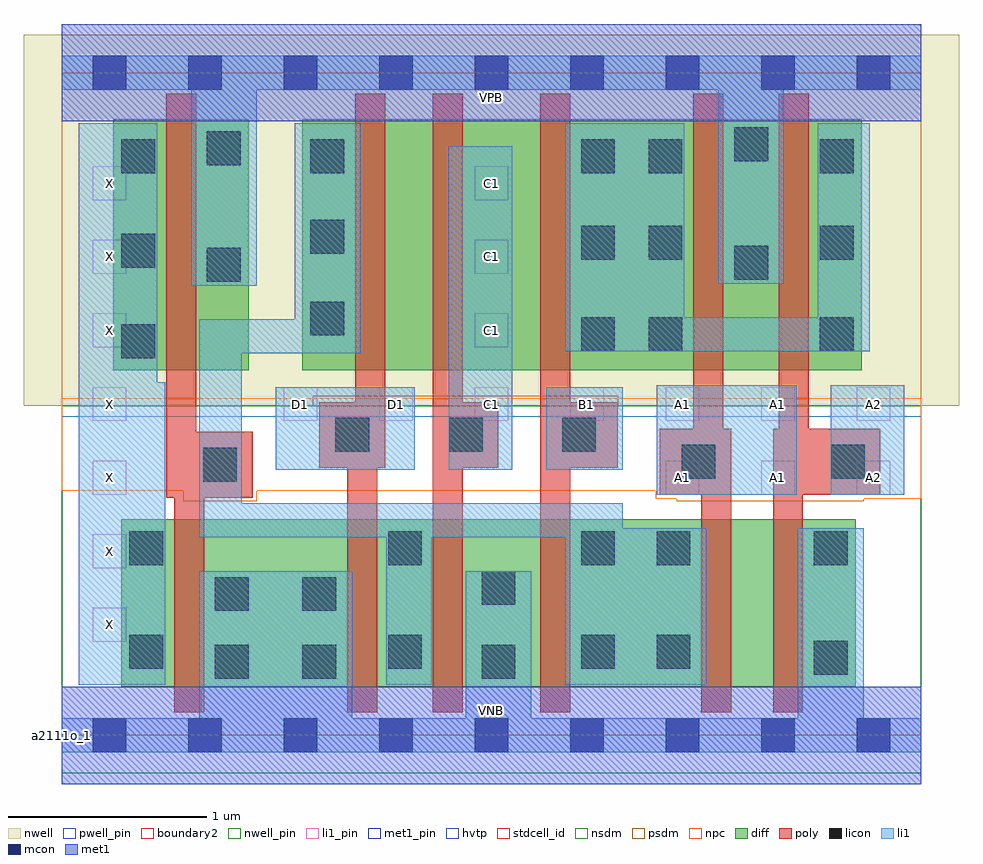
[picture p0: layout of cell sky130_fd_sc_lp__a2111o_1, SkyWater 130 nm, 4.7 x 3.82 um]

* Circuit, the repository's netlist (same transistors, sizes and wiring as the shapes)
* Copyright 2020 The SkyWater PDK Authors
*
* Licensed under the Apache License, Version 2.0 (the "License");
* you may not use this file except in compliance with the License.
* You may obtain a copy of the License at
*
*     https://www.apache.org/licenses/LICENSE-2.0
*
* Unless required by applicable law or agreed to in writing, software
* distributed under the License is distributed on an "AS IS" BASIS,
* WITHOUT WARRANTIES OR CONDITIONS OF ANY KIND, either express or implied.
* See the License for the specific language governing permissions and
* limitations under the License.
*
* SPDX-License-Identifier: Apache-2.0

.SUBCKT sky130_fd_sc_lp__a2111o_1 A1 A2 B1 C1 D1 VGND VNB VPB VPWR X
*.PININFO A1:I A2:I B1:I C1:I D1:I VGND:I VNB:I VPB:I VPWR:I X:O
MMPA0 pndA A1 VPWR VPB sky130_fd_pr__pfet_01v8_hvt m=1 w=1.26U l=0.15U mult=1 sa=0.265
+ sb=0.265 sd=0.28 area=0.063 perim=1.14
MMPA1 pndA A2 VPWR VPB sky130_fd_pr__pfet_01v8_hvt m=1 w=1.26U l=0.15U mult=1 sa=0.265
+ sb=0.265 sd=0.28 area=0.063 perim=1.14
MMPB0 pndB B1 pndA VPB sky130_fd_pr__pfet_01v8_hvt m=1 w=1.26U l=0.15U mult=1 sa=0.265
+ sb=0.265 sd=0.28 area=0.063 perim=1.14
MMPC0 pndC C1 pndB VPB sky130_fd_pr__pfet_01v8_hvt m=1 w=1.26U l=0.15U mult=1 sa=0.265
+ sb=0.265 sd=0.28 area=0.063 perim=1.14
MMPD0 y D1 pndC VPB sky130_fd_pr__pfet_01v8_hvt m=1 w=1.26U l=0.15U mult=1 sa=0.265
+ sb=0.265 sd=0.28 area=0.063 perim=1.14
MMIPX X y VPWR VPB sky130_fd_pr__pfet_01v8_hvt m=1 w=1.26U l=0.15U mult=1 sa=0.265
+ sb=0.265 sd=0.28 area=0.063 perim=1.14
MMNA0 y A1 sndA1 VNB sky130_fd_pr__nfet_01v8 m=1 w=0.84U l=0.15U mult=1 sa=0.265
+ sb=0.265 sd=0.28 area=0.063 perim=1.14
MMNA1 sndA1 A2 VGND VNB sky130_fd_pr__nfet_01v8 m=1 w=0.84U l=0.15U mult=1 sa=0.265
+ sb=0.265 sd=0.28 area=0.063 perim=1.14
MMNB0 y B1 VGND VNB sky130_fd_pr__nfet_01v8 m=1 w=0.84U l=0.15U mult=1 sa=0.265
+ sb=0.265 sd=0.28 area=0.063 perim=1.14
MMNC0 y C1 VGND VNB sky130_fd_pr__nfet_01v8 m=1 w=0.84U l=0.15U mult=1 sa=0.265
+ sb=0.265 sd=0.28 area=0.063 perim=1.14
MMND0 y D1 VGND VNB sky130_fd_pr__nfet_01v8 m=1 w=0.84U l=0.15U mult=1 sa=0.265
+ sb=0.265 sd=0.28 area=0.063 perim=1.14
MMINX X y VGND VNB sky130_fd_pr__nfet_01v8 m=1 w=0.84U l=0.15U mult=1 sa=0.265
+ sb=0.265 sd=0.28 area=0.063 perim=1.14
.ENDS sky130_fd_sc_lp__a2111o_1

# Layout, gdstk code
import gdstk
lib = gdstk.Library(unit=1e-6, precision=1e-09)
def R(c, l, rs):  # rectangles x0, y0, x1, y1
    for r in rs: c.add(gdstk.rectangle(r[:2], r[2:], *l))
def A(c, l, x, y, w, h, nx, ny, dx, dy):  # array of equal rectangles
    R(c, l, [(x+i*dx, y+j*dy, x+i*dx+w, y+j*dy+h) for i in range(nx) for j in range(ny)])
def P(c, l, *ps):  # polygons
    for p in ps: c.add(gdstk.Polygon(p, *l))
nwell_pin = (64, 16)
nwell = (64, 20)
diff = (65, 20)
poly = (66, 20)
licon = (66, 44)
li1_pin = (67, 16)
li1 = (67, 20)
mcon = (67, 44)
met1_pin = (68, 16)
met1 = (68, 20)
hvtp = (78, 44)
stdcell_id = (81, 4)
nsdm = (93, 44)
psdm = (94, 20)
npc = (95, 20)
pwell_pin = (122, 16)
boundary2 = (236, 0)

sky130_fd_sc_lp__a2111o_ = lib.new_cell('sky130_fd_sc_lp__a2111o_1')
R(sky130_fd_sc_lp__a2111o_, nwell_pin, [(0,3.085,4.32,3.33)])
R(sky130_fd_sc_lp__a2111o_, nwell, [(-0.19,1.655,4.51,3.52)])
R(sky130_fd_sc_lp__a2111o_, diff, [(0.3,0.245,3.99,1.085), (0.26,1.835,0.94,3.095), (1.21,1.835,4.02,3.095)])
P(sky130_fd_sc_lp__a2111o_, poly, [(0.96,1.525),(0.675,1.525),(0.675,3.225),(0.525,3.225),(0.525,1.195),(0.565,1.195),(0.565,0.115),(0.715,0.115),(0.715,1.195),(0.96,1.195)],
  [(1.625,3.225),(1.475,3.225),(1.475,1.675),(1.295,1.675),(1.295,1.345),(1.435,1.345),(1.435,0.115),(1.585,0.115),(1.585,1.345),(1.625,1.345)],
  [(2.195,1.675),(2.015,1.675),(2.015,3.225),(1.865,3.225),(1.865,0.115),(2.015,0.115),(2.015,1.345),(2.195,1.345)],
  [(3.365,1.54),(3.325,1.54),(3.325,3.225),(3.175,3.225),(3.175,1.54),(3.005,1.54),(3.005,1.21),(3.215,1.21),(3.215,0.115),(3.365,0.115)],
  [(4.115,1.54),(3.755,1.54),(3.755,3.225),(3.605,3.225),(3.605,1.54),(3.575,1.54),(3.575,0.115),(3.725,0.115),(3.725,1.21),(4.115,1.21)],
  [(2.795,1.675),(2.555,1.675),(2.555,3.225),(2.405,3.225),(2.405,0.115),(2.555,0.115),(2.555,1.345),(2.795,1.345)])
A(sky130_fd_sc_lp__a2111o_, licon, 1.375, 1.425, 0.17, 0.17, 3, 1, 0.57, 0)
R(sky130_fd_sc_lp__a2111o_, licon, [(0.77,0.285,0.94,0.455), (1.21,0.285,1.38,0.455), (2.11,0.285,2.28,0.455), (3.78,0.305,3.95,0.475), (0.34,0.335,0.51,0.505), (1.64,0.335,1.81,0.505), (2.61,0.335,2.78,0.505), (2.99,0.335,3.16,0.505), (0.77,0.625,0.94,0.795), (1.21,0.625,1.38,0.795), (2.11,0.655,2.28,0.825), (0.34,0.855,0.51,1.025), (1.64,0.855,1.81,1.025), (2.61,0.855,2.78,1.025), (2.99,0.855,3.16,1.025), (3.78,0.855,3.95,1.025), (0.71,1.275,0.88,1.445), (3.115,1.29,3.285,1.46), (3.865,1.29,4.035,1.46), (0.3,1.895,0.47,2.065), (2.61,1.93,2.78,2.1), (2.95,1.93,3.12,2.1), (3.81,1.93,3.98,2.1), (1.25,2.01,1.42,2.18), (0.73,2.28,0.9,2.45), (3.38,2.29,3.55,2.46), (0.3,2.35,0.47,2.52), (2.61,2.39,2.78,2.56), (2.95,2.39,3.12,2.56), (3.81,2.39,3.98,2.56), (1.25,2.42,1.42,2.59), (0.3,2.825,0.47,2.995), (1.25,2.825,1.42,2.995), (2.61,2.825,2.78,2.995), (2.95,2.825,3.12,2.995), (3.81,2.825,3.98,2.995), (0.73,2.865,0.9,3.035), (3.38,2.885,3.55,3.055)])
A(sky130_fd_sc_lp__a2111o_, li1_pin, 0.155, 0.47, 0.17, 0.17, 1, 7, 0, 0.37)
A(sky130_fd_sc_lp__a2111o_, li1_pin, 3.035, 1.21, 0.17, 0.17, 3, 1, 0.48, 0)
A(sky130_fd_sc_lp__a2111o_, li1_pin, 1.115, 1.58, 0.17, 0.17, 7, 1, 0.48, 0)
A(sky130_fd_sc_lp__a2111o_, li1_pin, 2.075, 1.95, 0.17, 0.17, 1, 3, 0, 0.37)
R(sky130_fd_sc_lp__a2111o_, li1, [(2.99,1.21,3.695,1.76), (3.865,1.21,4.235,1.76), (1.075,1.335,1.775,1.75), (1.945,1.335,2.265,2.96), (2.435,1.335,2.82,1.75)])
P(sky130_fd_sc_lp__a2111o_, li1, [(4.32,0.085),(4.03,0.085),(4.03,1.04),(3.7,1.04),(3.7,0.085),(2.36,0.085),(2.36,0.825),(2.03,0.825),(2.03,0.085),(1.46,0.085),(1.46,0.825),(0.69,0.825),(0.69,0.085),(0,0.085),(0,-0.085),(4.32,-0.085)],
  [(4.06,3.075),(3.8,3.075),(3.8,2.1),(3.13,2.1),(3.13,3.075),(2.53,3.075),(2.53,1.93),(4.06,1.93)],
  [(0.52,1.775),(0.48,1.775),(0.48,3.075),(0.085,3.075),(0.085,0.255),(0.52,0.255)],
  [(4.32,3.415),(0,3.415),(0,3.245),(0.65,3.245),(0.65,2.26),(0.98,2.26),(0.98,3.245),(3.3,3.245),(3.3,2.27),(3.63,2.27),(3.63,3.245),(4.32,3.245)],
  [(3.24,1.04),(2.82,1.04),(2.82,1.165),(0.905,1.165),(0.905,1.92),(1.5,1.92),(1.5,3.075),(1.17,3.075),(1.17,2.09),(0.69,2.09),(0.69,0.995),(1.63,0.995),(1.63,0.255),(1.86,0.255),(1.86,0.995),(2.53,0.995),(2.53,0.255),(3.24,0.255)])
A(sky130_fd_sc_lp__a2111o_, mcon, 0.155, -0.085, 0.17, 0.17, 9, 2, 0.48, 3.33)
R(sky130_fd_sc_lp__a2111o_, met1_pin, [(0,0,4.32,0.245), (0,3.085,4.32,3.33)])
R(sky130_fd_sc_lp__a2111o_, met1, [(0,-0.245,4.32,0.245), (0,3.085,4.32,3.575)])
R(sky130_fd_sc_lp__a2111o_, hvtp, [(0,1.6,4.32,3.33)])
R(sky130_fd_sc_lp__a2111o_, stdcell_id, [(0,0,4.32,3.33)])
R(sky130_fd_sc_lp__a2111o_, nsdm, [(0,-0.19,4.32,1.655)])
P(sky130_fd_sc_lp__a2111o_, psdm, [(4.32,3.52),(0,3.52),(0,1.655),(1.265,1.655),(1.265,1.705),(2.795,1.705),(2.795,1.655),(4.32,1.655)])
P(sky130_fd_sc_lp__a2111o_, npc, [(4.32,1.695),(0,1.695),(0,1.23),(0.61,1.23),(0.61,1.175),(0.98,1.175),(0.98,1.23),(2.985,1.23),(2.985,1.19),(3.09,1.19),(3.09,1.175),(4.03,1.175),(4.03,1.19),(4.32,1.19)])
R(sky130_fd_sc_lp__a2111o_, pwell_pin, [(0,0,4.32,0.245)])
R(sky130_fd_sc_lp__a2111o_, boundary2, [(0,0,4.32,3.33)])
sky130_fd_sc_lp__a2111o_.add(gdstk.Label('VNB', (2.16,0.123), layer=64, texttype=59))
sky130_fd_sc_lp__a2111o_.add(gdstk.Label('VPB', (2.16,3.208), layer=64, texttype=5))
sky130_fd_sc_lp__a2111o_.add(gdstk.Label('a2111o_1', (0,0), layer=83, texttype=44))
sky130_fd_sc_lp__a2111o_.add(gdstk.Label('VPWR', (2.16,3.208), layer=68, texttype=5))
sky130_fd_sc_lp__a2111o_.add(gdstk.Label('VGND', (2.16,0.123), layer=68, texttype=5))
sky130_fd_sc_lp__a2111o_.add(gdstk.Label('A1', (3.12,1.295), layer=67, texttype=5))
sky130_fd_sc_lp__a2111o_.add(gdstk.Label('A1', (3.12,1.665), layer=67, texttype=5))
sky130_fd_sc_lp__a2111o_.add(gdstk.Label('A1', (3.6,1.295), layer=67, texttype=5))
sky130_fd_sc_lp__a2111o_.add(gdstk.Label('A1', (3.6,1.665), layer=67, texttype=5))
sky130_fd_sc_lp__a2111o_.add(gdstk.Label('A2', (4.08,1.295), layer=67, texttype=5))
sky130_fd_sc_lp__a2111o_.add(gdstk.Label('A2', (4.08,1.665), layer=67, texttype=5))
sky130_fd_sc_lp__a2111o_.add(gdstk.Label('B1', (2.64,1.665), layer=67, texttype=5))
sky130_fd_sc_lp__a2111o_.add(gdstk.Label('C1', (2.16,1.665), layer=67, texttype=5))
sky130_fd_sc_lp__a2111o_.add(gdstk.Label('C1', (2.16,2.035), layer=67, texttype=5))
sky130_fd_sc_lp__a2111o_.add(gdstk.Label('C1', (2.16,2.405), layer=67, texttype=5))
sky130_fd_sc_lp__a2111o_.add(gdstk.Label('C1', (2.16,2.775), layer=67, texttype=5))
sky130_fd_sc_lp__a2111o_.add(gdstk.Label('X', (0.24,0.555), layer=67, texttype=5))
sky130_fd_sc_lp__a2111o_.add(gdstk.Label('X', (0.24,0.925), layer=67, texttype=5))
sky130_fd_sc_lp__a2111o_.add(gdstk.Label('X', (0.24,1.295), layer=67, texttype=5))
sky130_fd_sc_lp__a2111o_.add(gdstk.Label('X', (0.24,1.665), layer=67, texttype=5))
sky130_fd_sc_lp__a2111o_.add(gdstk.Label('X', (0.24,2.035), layer=67, texttype=5))
sky130_fd_sc_lp__a2111o_.add(gdstk.Label('X', (0.24,2.405), layer=67, texttype=5))
sky130_fd_sc_lp__a2111o_.add(gdstk.Label('X', (0.24,2.775), layer=67, texttype=5))
sky130_fd_sc_lp__a2111o_.add(gdstk.Label('D1', (1.2,1.665), layer=67, texttype=5))
sky130_fd_sc_lp__a2111o_.add(gdstk.Label('D1', (1.68,1.665), layer=67, texttype=5))

lib.write_gds('sky130_fd_sc_lp__a2111o_1.gds')
